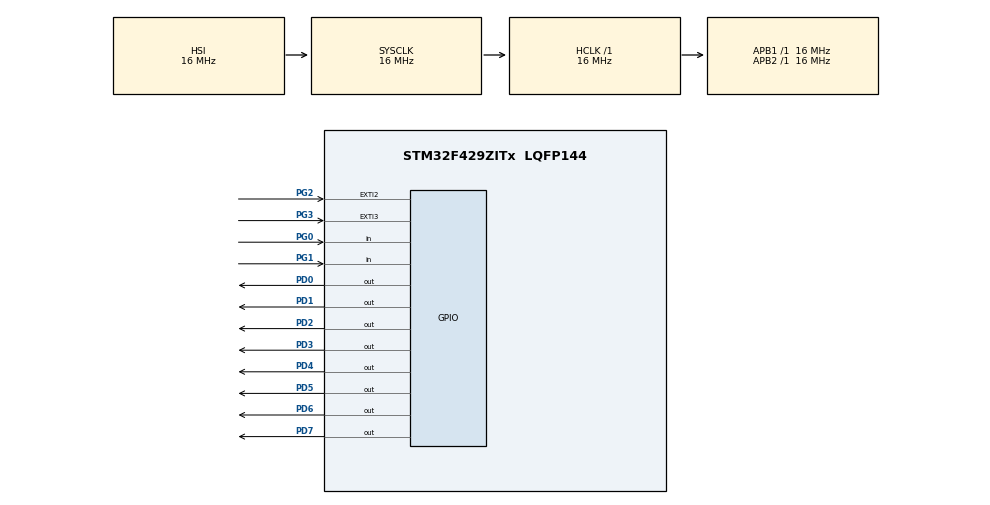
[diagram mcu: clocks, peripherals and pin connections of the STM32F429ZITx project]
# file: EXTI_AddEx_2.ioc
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Mcu.Family=STM32F4
Mcu.Name=STM32F429ZITx
Mcu.Package=LQFP144
NVIC.EXTI2_IRQn=true\:0\:0\:false\:false\:true\:true\:true\:true
NVIC.EXTI3_IRQn=true\:0\:0\:false\:false\:true\:true\:true\:true
NVIC.PriorityGroup=NVIC_PRIORITYGROUP_4
PD0.GPIO_ModeDefaultOutputPP=GPIO_MODE_OUTPUT_PP
PD0.GPIO_PuPd=GPIO_PULLUP
PD0.GPIO_Speed=GPIO_SPEED_FREQ_HIGH
PD0.PinState=GPIO_PIN_RESET
PD0.Signal=GPIO_Output
PD1.GPIO_ModeDefaultOutputPP=GPIO_MODE_OUTPUT_PP
PD1.GPIO_PuPd=GPIO_PULLUP
PD1.GPIO_Speed=GPIO_SPEED_FREQ_HIGH
PD1.PinState=GPIO_PIN_RESET
PD1.Signal=GPIO_Output
PD2.GPIO_ModeDefaultOutputPP=GPIO_MODE_OUTPUT_PP
PD2.GPIO_PuPd=GPIO_PULLUP
PD2.GPIO_Speed=GPIO_SPEED_FREQ_HIGH
PD2.PinState=GPIO_PIN_RESET
PD2.Signal=GPIO_Output
PD3.GPIO_ModeDefaultOutputPP=GPIO_MODE_OUTPUT_PP
PD3.GPIO_PuPd=GPIO_PULLUP
PD3.GPIO_Speed=GPIO_SPEED_FREQ_HIGH
PD3.PinState=GPIO_PIN_RESET
PD3.Signal=GPIO_Output
PD4.GPIO_ModeDefaultOutputPP=GPIO_MODE_OUTPUT_PP
PD4.GPIO_PuPd=GPIO_PULLUP
PD4.GPIO_Speed=GPIO_SPEED_FREQ_HIGH
PD4.PinState=GPIO_PIN_RESET
PD4.Signal=GPIO_Output
PD5.GPIO_ModeDefaultOutputPP=GPIO_MODE_OUTPUT_PP
PD5.GPIO_PuPd=GPIO_PULLUP
PD5.GPIO_Speed=GPIO_SPEED_FREQ_HIGH
PD5.PinState=GPIO_PIN_RESET
PD5.Signal=GPIO_Output
PD6.GPIO_ModeDefaultOutputPP=GPIO_MODE_OUTPUT_PP
PD6.GPIO_PuPd=GPIO_PULLUP
PD6.GPIO_Speed=GPIO_SPEED_FREQ_HIGH
PD6.PinState=GPIO_PIN_RESET
PD6.Signal=GPIO_Output
PD7.GPIO_ModeDefaultOutputPP=GPIO_MODE_OUTPUT_PP
PD7.GPIO_PuPd=GPIO_PULLUP
PD7.GPIO_Speed=GPIO_SPEED_FREQ_HIGH
PD7.PinState=GPIO_PIN_RESET
PD7.Signal=GPIO_Output
PG0.GPIO_Mode=GPIO_MODE_INPUT
PG0.GPIO_PuPd=GPIO_PULLDOWN
PG0.Signal=GPIO_Input
PG1.GPIO_Mode=GPIO_MODE_INPUT
PG1.GPIO_PuPd=GPIO_PULLDOWN
PG1.Signal=GPIO_Input
PG2.GPIO_ModeDefaultEXTI=GPIO_MODE_IT_FALLING
PG2.GPIO_PuPd=GPIO_NOPULL
PG2.Signal=GPXTI2
PG3.GPIO_ModeDefaultEXTI=GPIO_MODE_IT_FALLING
PG3.GPIO_PuPd=GPIO_NOPULL
PG3.Signal=GPXTI3
ProjectManager.HeapSize=0x200
ProjectManager.StackSize=0x400
ProjectManager.TargetToolchain=STM32CubeIDE
RCC.AHBFreq_Value=16000000
RCC.APB1Freq_Value=16000000
RCC.APB2Freq_Value=16000000
RCC.CortexFreq_Value=16000000
RCC.HSE_VALUE=25000000
RCC.HSI_VALUE=16000000
RCC.LSE_VALUE=32768
RCC.SYSCLKFreq_VALUE=16000000
RCC.VCOOutputFreq_Value=192000000
board=custom

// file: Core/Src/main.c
/* USER CODE BEGIN Header */
/**
  ******************************************************************************
  * @file           : main.c
  * @brief          : Main program body
  ******************************************************************************
  * @attention
  *
  * Copyright (c) 2023 STMicroelectronics.
  * All rights reserved.
  *
  * This software is licensed under terms that can be found in the LICENSE file
  * in the root directory of this software component.
  * If no LICENSE file comes with this software, it is provided AS-IS.
  *
  ******************************************************************************
  */
/* USER CODE END Header */
#include "main.h"

/* USER CODE BEGIN PV */
int flag_SW1 = 0, flag_SW2 = 0, flag_SW3 = 0, flag_SW4 = 0;
/* USER CODE END PV */

void SystemClock_Config(void);
static void MX_GPIO_Init(void);
/* USER CODE BEGIN PFP */
void LED_OnOff(int, int);
/* USER CODE END PFP */

int main(void)
{
  /* USER CODE BEGIN 1 */

	uint16_t led = 0x01;

  /* USER CODE END 1 */

  /* MCU Configuration--------------------------------------------------------*/

  /* Reset of all peripherals, Initializes the Flash interface and the Systick. */
  HAL_Init();

  /* Configure the system clock */
  SystemClock_Config();

  /* Initialize all configured peripherals */
  MX_GPIO_Init();
  /* USER CODE BEGIN 2 */

  LED_OnOff(LED_ALL, 500);

  /* USER CODE END 2 */

  /* Infinite loop */
  /* USER CODE BEGIN WHILE */
  while (1)
  {

	  if( HAL_GPIO_ReadPin(GPIO_SW, SW1 ) == RESET ) flag_SW1 = 1, flag_SW2 = 0, flag_SW3 = 0, flag_SW4 = 0;
	  if( HAL_GPIO_ReadPin(GPIO_SW, SW2 ) == RESET ) flag_SW1 = 0, flag_SW2 = 1, flag_SW3 = 0, flag_SW4 = 0;

	  if( flag_SW1 == 1 ){

		  led = 0x00;
		  LED_OnOff(led, 100);

		  led = led | 0x03;
		  LED_OnOff(led, 100);

//		  HAL_Delay(100);

	  }
	  if( flag_SW2 == 1 ){
		  led = 0x00;
		  LED_OnOff(led, 100);

		  led = led | 0x0c;
		  LED_OnOff(led, 100);

//		  HAL_Delay(100);

	  	  }
	  if ( flag_SW3 == 1 ) {
		  led = 0x00;
		  LED_OnOff(led, 100);

		  led = led | 0x30;
		  LED_OnOff(led, 100);

//		  HAL_Delay(100);
	  	  }
	  if ( flag_SW4 == 1 ) {
		  led = 0x00;
		  LED_OnOff(led, 100);

		  led = led | 0xc0;
		  LED_OnOff(led, 100);

//		  HAL_Delay(100);
	  	  }

    /* USER CODE END WHILE */

  }
}

void SystemClock_Config(void)
{
  RCC_OscInitTypeDef RCC_OscInitStruct = {0};
  RCC_ClkInitTypeDef RCC_ClkInitStruct = {0};

  /** Configure the main internal regulator output voltage
  */
  __HAL_RCC_PWR_CLK_ENABLE();
  __HAL_PWR_VOLTAGESCALING_CONFIG(PWR_REGULATOR_VOLTAGE_SCALE3);

  /** Initializes the RCC Oscillators according to the specified parameters
  * in the RCC_OscInitTypeDef structure.
  */
  RCC_OscInitStruct.OscillatorType = RCC_OSCILLATORTYPE_HSI;
  RCC_OscInitStruct.HSIState = RCC_HSI_ON;
  RCC_OscInitStruct.HSICalibrationValue = RCC_HSICALIBRATION_DEFAULT;
  RCC_OscInitStruct.PLL.PLLState = RCC_PLL_NONE;
  if (HAL_RCC_OscConfig(&RCC_OscInitStruct) != HAL_OK)
  {
    Error_Handler();
  }

  /** Initializes the CPU, AHB and APB buses clocks
  */
  RCC_ClkInitStruct.ClockType = RCC_CLOCKTYPE_HCLK|RCC_CLOCKTYPE_SYSCLK
                              |RCC_CLOCKTYPE_PCLK1|RCC_CLOCKTYPE_PCLK2;
  RCC_ClkInitStruct.SYSCLKSource = RCC_SYSCLKSOURCE_HSI;
  RCC_ClkInitStruct.AHBCLKDivider = RCC_SYSCLK_DIV1;
  RCC_ClkInitStruct.APB1CLKDivider = RCC_HCLK_DIV1;
  RCC_ClkInitStruct.APB2CLKDivider = RCC_HCLK_DIV1;

  if (HAL_RCC_ClockConfig(&RCC_ClkInitStruct, FLASH_LATENCY_0) != HAL_OK)
  {
    Error_Handler();
  }
}

static void MX_GPIO_Init(void)
{
  GPIO_InitTypeDef GPIO_InitStruct = {0};

  /* GPIO Ports Clock Enable */
  __HAL_RCC_GPIOG_CLK_ENABLE();
  __HAL_RCC_GPIOD_CLK_ENABLE();

  /*Configure GPIO pin Output Level */
  HAL_GPIO_WritePin(GPIOD, GPIO_PIN_0|GPIO_PIN_1|GPIO_PIN_2|GPIO_PIN_3
                          |GPIO_PIN_4|GPIO_PIN_5|GPIO_PIN_6|GPIO_PIN_7, GPIO_PIN_RESET);

  /*Configure GPIO pins : PG0 PG1 */
  GPIO_InitStruct.Pin = GPIO_PIN_0|GPIO_PIN_1;
  GPIO_InitStruct.Mode = GPIO_MODE_INPUT;
  GPIO_InitStruct.Pull = GPIO_PULLDOWN;
  HAL_GPIO_Init(GPIOG, &GPIO_InitStruct);

  /*Configure GPIO pins : PG2 PG3 */
  GPIO_InitStruct.Pin = GPIO_PIN_2|GPIO_PIN_3;
  GPIO_InitStruct.Mode = GPIO_MODE_IT_FALLING;
  GPIO_InitStruct.Pull = GPIO_NOPULL;
  HAL_GPIO_Init(GPIOG, &GPIO_InitStruct);

  /*Configure GPIO pins : PD0 PD1 PD2 PD3
                           PD4 PD5 PD6 PD7 */
  GPIO_InitStruct.Pin = GPIO_PIN_0|GPIO_PIN_1|GPIO_PIN_2|GPIO_PIN_3
                          |GPIO_PIN_4|GPIO_PIN_5|GPIO_PIN_6|GPIO_PIN_7;
  GPIO_InitStruct.Mode = GPIO_MODE_OUTPUT_PP;
  GPIO_InitStruct.Pull = GPIO_PULLUP;
  GPIO_InitStruct.Speed = GPIO_SPEED_FREQ_HIGH;
  HAL_GPIO_Init(GPIOD, &GPIO_InitStruct);

  /* EXTI interrupt init*/
  HAL_NVIC_SetPriority(EXTI2_IRQn, 0, 0);
  HAL_NVIC_EnableIRQ(EXTI2_IRQn);

  HAL_NVIC_SetPriority(EXTI3_IRQn, 0, 0);
  HAL_NVIC_EnableIRQ(EXTI3_IRQn);

}

/* USER CODE BEGIN 4 */

void LED_OnOff(int led, int interval)
{
	HAL_GPIO_WritePin(GPIO_LED, led, GPIO_PIN_SET );
	HAL_GPIO_WritePin(GPIO_LED_Nucleo, led, GPIO_PIN_SET );
	HAL_Delay(interval);
	HAL_GPIO_WritePin(GPIO_LED, led, GPIO_PIN_RESET );
	HAL_GPIO_WritePin(GPIO_LED_Nucleo, led, GPIO_PIN_RESET );
}
void HAL_GPIO_EXTI_Callback(uint16_t GPIO_PIN)
{
//	if ( GPIO_PIN == SW1) flag_SW1 = 1, flag_SW2 = 0, flag_SW3 = 0, flag_SW4 = 0;
//	if ( GPIO_PIN == SW2) flag_SW1 = 0, flag_SW2 = 1, flag_SW3 = 0, flag_SW4 = 0;
	if ( GPIO_PIN == SW3) flag_SW1 = 0, flag_SW2 = 0, flag_SW3 = 1, flag_SW4 = 0;
	if ( GPIO_PIN == SW4) flag_SW1 = 0, flag_SW2 = 0, flag_SW3 = 0, flag_SW4 = 1;
}

/* USER CODE END 4 */

void Error_Handler(void)
{
  __disable_irq();
  while (1)
  {
  }
}
